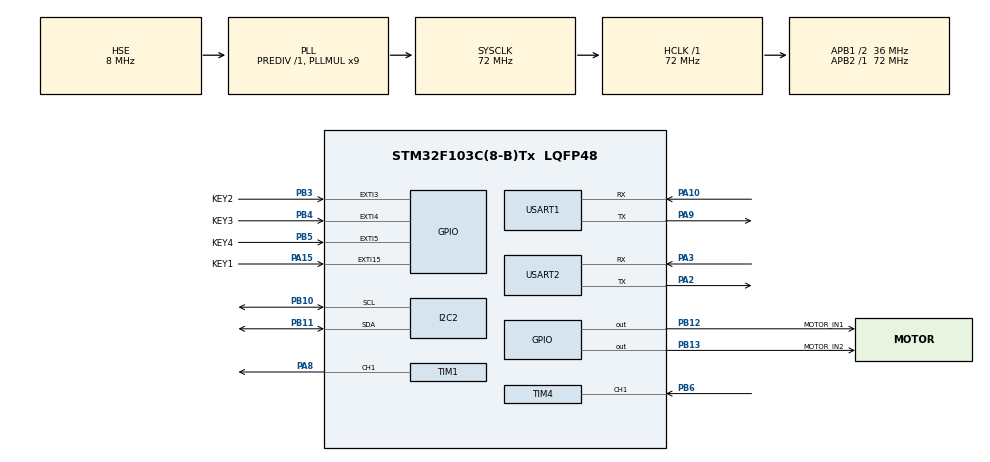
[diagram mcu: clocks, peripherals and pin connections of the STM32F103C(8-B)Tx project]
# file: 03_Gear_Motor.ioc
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Mcu.Family=STM32F1
Mcu.Name=STM32F103C(8-B)Tx
Mcu.Package=LQFP48
NVIC.EXTI15_10_IRQn=true\:1\:0\:true\:false\:true\:true\:true\:true
NVIC.EXTI3_IRQn=true\:1\:0\:true\:false\:true\:true\:true\:true
NVIC.EXTI4_IRQn=true\:1\:0\:true\:false\:true\:true\:true\:true
NVIC.EXTI9_5_IRQn=true\:1\:0\:true\:false\:true\:true\:true\:true
NVIC.PriorityGroup=NVIC_PRIORITYGROUP_4
NVIC.TIM2_IRQn=true\:2\:0\:true\:false\:true\:true\:true\:true
NVIC.TIM3_IRQn=true\:0\:0\:false\:false\:false\:true\:true\:true
NVIC.TIM4_IRQn=true\:2\:0\:true\:false\:true\:true\:true\:true
NVIC.USART2_IRQn=true\:0\:0\:false\:false\:false\:true\:true\:true
PA10.Mode=Asynchronous
PA10.Signal=USART1_RX
PA13.Mode=Serial_Wire
PA13.Signal=SYS_JTMS-SWDIO
PA14.Mode=Serial_Wire
PA14.Signal=SYS_JTCK-SWCLK
PA15.GPIO_Label=KEY1
PA15.GPIO_ModeDefaultEXTI=GPIO_MODE_IT_FALLING
PA15.GPIO_PuPd=GPIO_PULLUP
PA15.Signal=GPXTI15
PA2.Mode=Asynchronous
PA2.Signal=USART2_TX
PA3.Mode=Asynchronous
PA3.Signal=USART2_RX
PA8.Signal=S_TIM1_CH1
PA9.Mode=Asynchronous
PA9.Signal=USART1_TX
PB10.Mode=I2C
PB10.Signal=I2C2_SCL
PB11.Mode=I2C
PB11.Signal=I2C2_SDA
PB12.GPIO_Label=MOTOR_IN1
PB12.GPIO_Speed=GPIO_SPEED_FREQ_HIGH
PB12.Signal=GPIO_Output
PB13.GPIO_Label=MOTOR_IN2
PB13.GPIO_Speed=GPIO_SPEED_FREQ_HIGH
PB13.Signal=GPIO_Output
PB3.GPIO_Label=KEY2
PB3.GPIO_ModeDefaultEXTI=GPIO_MODE_IT_FALLING
PB3.GPIO_PuPd=GPIO_PULLUP
PB3.Signal=GPXTI3
PB4.GPIO_Label=KEY3
PB4.GPIO_ModeDefaultEXTI=GPIO_MODE_IT_FALLING
PB4.GPIO_PuPd=GPIO_PULLUP
PB4.Signal=GPXTI4
PB5.GPIO_Label=KEY4
PB5.GPIO_ModeDefaultEXTI=GPIO_MODE_IT_FALLING
PB5.GPIO_PuPd=GPIO_PULLUP
PB5.Signal=GPXTI5
PB6.Signal=S_TIM4_CH1
PC14-OSC32_IN.Mode=LSE-External-Oscillator
PC14-OSC32_IN.Signal=RCC_OSC32_IN
PC15-OSC32_OUT.Mode=LSE-External-Oscillator
PC15-OSC32_OUT.Signal=RCC_OSC32_OUT
PD0-OSC_IN.Mode=HSE-External-Oscillator
PD0-OSC_IN.Signal=RCC_OSC_IN
PD1-OSC_OUT.Mode=HSE-External-Oscillator
PD1-OSC_OUT.Signal=RCC_OSC_OUT
ProjectManager.HeapSize=0x200
ProjectManager.StackSize=0x400
ProjectManager.TargetToolchain=MDK-ARM V5.32
RCC.AHBFreq_Value=72000000
RCC.APB1CLKDivider=RCC_HCLK_DIV2
RCC.APB1Freq_Value=36000000
RCC.APB1TimFreq_Value=72000000
RCC.APB2Freq_Value=72000000
RCC.APB2TimFreq_Value=72000000
RCC.HCLKFreq_Value=72000000
RCC.PLLMUL=RCC_PLL_MUL9
RCC.PLLSourceVirtual=RCC_PLLSOURCE_HSE
RCC.SYSCLKFreq_VALUE=72000000
RCC.SYSCLKSource=RCC_SYSCLKSOURCE_PLLCLK
RCC.USBFreq_Value=72000000
SH.S_TIM1_CH1.0=TIM1_CH1,PWM Generation1 CH1
SH.S_TIM4_CH1.0=TIM4_CH1,Input_Capture1_from_TI1
TIM1.Channel-PWM\ Generation1\ CH1=TIM_CHANNEL_1
TIM1.Period=99
TIM1.Prescaler=71
TIM1.Pulse-PWM\ Generation1\ CH1=0
TIM2.Period=499
TIM2.Prescaler=7199
TIM3.Period=34
TIM3.Prescaler=3599
TIM4.Channel-Input_Capture1_from_TI1=TIM_CHANNEL_1
TIM4.Prescaler=71
USART1.VirtualMode=VM_ASYNC
USART2.VirtualMode=VM_ASYNC
VP_TIM1_VS_ClockSourceINT.Mode=Internal
VP_TIM2_VS_ClockSourceINT.Mode=Internal
VP_TIM3_VS_ClockSourceINT.Mode=Internal
VP_TIM4_VS_ClockSourceINT.Mode=Internal
board=custom

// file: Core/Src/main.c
/* USER CODE BEGIN Header */
/**
  ******************************************************************************
  * @file           : main.c
  * @brief          : Main program body
  ******************************************************************************
  * @attention
  *
  * Copyright (c) 2026 STMicroelectronics.
  * All rights reserved.
  *
  * This software is licensed under terms that can be found in the LICENSE file
  * in the root directory of this software component.
  * If no LICENSE file comes with this software, it is provided AS-IS.
  *
  ******************************************************************************
  */
/* USER CODE END Header */
#include "main.h"
#include "i2c.h"
#include "tim.h"
#include "usart.h"
#include "gpio.h"

/* USER CODE BEGIN Includes */
#include "App_Display.h"
#include "App_Key.h"
#include "mb.h"
/* USER CODE END Includes */

/* USER CODE BEGIN PV */
extern uint8_t machine_id;
extern uint8_t REG_COILS_BUF[REG_COILS_SIZE];
/* USER CODE END PV */

void SystemClock_Config(void);

int main(void)
{

  /* MCU Configuration--------------------------------------------------------*/

  /* Reset of all peripherals, Initializes the Flash interface and the Systick. */
  HAL_Init();

  /* USER CODE BEGIN Init */
  HAL_Delay(500);
  /* USER CODE END Init */

  /* Configure the system clock */
  SystemClock_Config();

  /* Initialize all configured peripherals */
  MX_GPIO_Init();
  MX_I2C2_Init();
  MX_USART1_UART_Init();
  MX_TIM1_Init();
  MX_TIM4_Init();
  MX_TIM2_Init();
  MX_USART2_UART_Init();
  MX_TIM3_Init();
  /* USER CODE BEGIN 2 */
  App_ID_Init();
  App_OLED_Init();
  Int_Gear_Motor_Init();

  //modbus初始化
  //此处的波特率填写不生效 => 直接使用的hal库
  eMBInit(MB_RTU,machine_id,0,115200,MB_PAR_NONE);
  eMBEnable();
  printf("gear motor start!\n");
  //uint16_t count = 0;
  /* USER CODE END 2 */

  /* Infinite loop */
  /* USER CODE BEGIN WHILE */
  while (1)
  {
    // 打印线圈寄存器值
    // count++;
    // if(count>= 10)
    // {
    //   count = 0;
    //   printf("printf coil-Reg\n");
    //   for (uint8_t i = 0; i < 10; i++)
    //   {
    //     printf("%d ",REG_COILS_BUF[i]);
    //   }
    //   printf("\n");
    // }
    App_Key_Function();
    App_OLED_Display();
    eMBPoll();
    HAL_Delay(100);
    /* USER CODE END WHILE */

  }
}

void SystemClock_Config(void)
{
  RCC_OscInitTypeDef RCC_OscInitStruct = {0};
  RCC_ClkInitTypeDef RCC_ClkInitStruct = {0};

  /** Initializes the RCC Oscillators according to the specified parameters
  * in the RCC_OscInitTypeDef structure.
  */
  RCC_OscInitStruct.OscillatorType = RCC_OSCILLATORTYPE_HSE;
  RCC_OscInitStruct.HSEState = RCC_HSE_ON;
  RCC_OscInitStruct.HSEPredivValue = RCC_HSE_PREDIV_DIV1;
  RCC_OscInitStruct.HSIState = RCC_HSI_ON;
  RCC_OscInitStruct.PLL.PLLState = RCC_PLL_ON;
  RCC_OscInitStruct.PLL.PLLSource = RCC_PLLSOURCE_HSE;
  RCC_OscInitStruct.PLL.PLLMUL = RCC_PLL_MUL9;
  if (HAL_RCC_OscConfig(&RCC_OscInitStruct) != HAL_OK)
  {
    Error_Handler();
  }

  /** Initializes the CPU, AHB and APB buses clocks
  */
  RCC_ClkInitStruct.ClockType = RCC_CLOCKTYPE_HCLK|RCC_CLOCKTYPE_SYSCLK
                              |RCC_CLOCKTYPE_PCLK1|RCC_CLOCKTYPE_PCLK2;
  RCC_ClkInitStruct.SYSCLKSource = RCC_SYSCLKSOURCE_PLLCLK;
  RCC_ClkInitStruct.AHBCLKDivider = RCC_SYSCLK_DIV1;
  RCC_ClkInitStruct.APB1CLKDivider = RCC_HCLK_DIV2;
  RCC_ClkInitStruct.APB2CLKDivider = RCC_HCLK_DIV1;

  if (HAL_RCC_ClockConfig(&RCC_ClkInitStruct, FLASH_LATENCY_2) != HAL_OK)
  {
    Error_Handler();
  }
}

void Error_Handler(void)
{
  __disable_irq();
  while (1)
  {
  }
}
